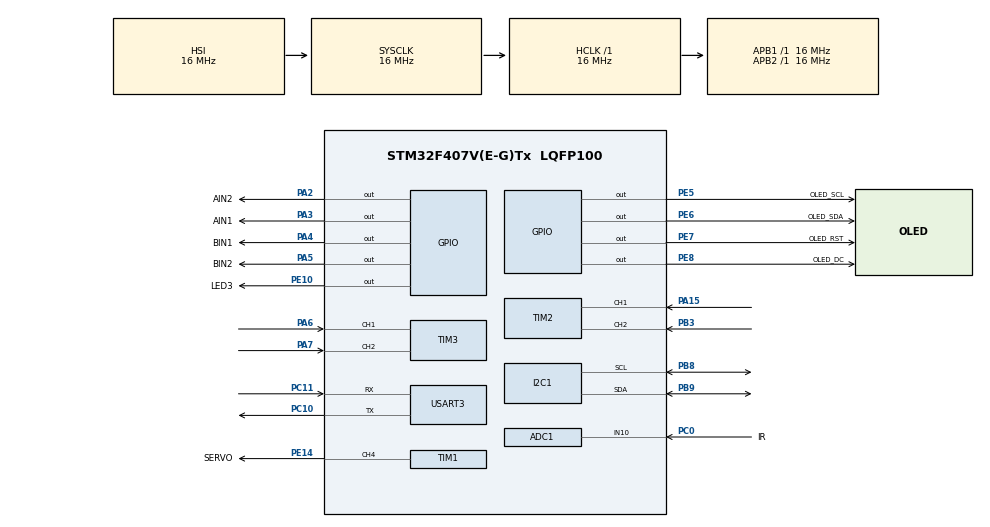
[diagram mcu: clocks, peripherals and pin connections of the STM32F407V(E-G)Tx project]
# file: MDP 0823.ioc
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ADC1.Channel-0\#ChannelRegularConversion=ADC_CHANNEL_10
ADC1.NbrOfConversionFlag=1
ADC1.Rank-0\#ChannelRegularConversion=1
ADC1.SamplingTime-0\#ChannelRegularConversion=ADC_SAMPLETIME_3CYCLES
ADC1.master=1
FREERTOS.Tasks01=defaultTask,24,128,StartDefaultTask,Default,NULL,Dynamic,NULL,NULL;myTask02,8,128,show,Default,NULL,Dynamic,NULL,NULL;MotorTask,8,128,motors,Default,NULL,Dynamic,NULL,NULL;EncoderTask,8,128,encoder_task,Default,NULL,Dynamic,NULL,NULL;IRTask,8,128,IR,Default,NULL,Dynamic,NULL,NULL
Mcu.Family=STM32F4
Mcu.Name=STM32F407V(E-G)Tx
Mcu.Package=LQFP100
NVIC.PriorityGroup=NVIC_PRIORITYGROUP_4
NVIC.USART3_IRQn=true\:5\:0\:false\:false\:true\:true\:true\:true\:true
PA15.Signal=S_TIM2_CH1_ETR
PA2.GPIO_Label=AIN2
PA2.GPIO_Speed=GPIO_SPEED_FREQ_HIGH
PA2.Signal=GPIO_Output
PA3.GPIO_Label=AIN1
PA3.GPIO_Speed=GPIO_SPEED_FREQ_HIGH
PA3.Signal=GPIO_Output
PA4.GPIO_Label=BIN1
PA4.GPIO_Speed=GPIO_SPEED_FREQ_HIGH
PA4.Signal=GPIO_Output
PA5.GPIO_Label=BIN2
PA5.GPIO_Speed=GPIO_SPEED_FREQ_HIGH
PA5.Signal=GPIO_Output
PA6.Signal=S_TIM3_CH1
PA7.Signal=S_TIM3_CH2
PB3.Signal=S_TIM2_CH2
PB8.Mode=I2C
PB8.Signal=I2C1_SCL
PB9.Mode=I2C
PB9.Signal=I2C1_SDA
PC0.GPIO_Label=IR
PC0.Signal=ADCx_IN10
PC10.Mode=Asynchronous
PC10.Signal=USART3_TX
PC11.Mode=Asynchronous
PC11.Signal=USART3_RX
PC6.GPIO_Label=PWMA
PC6.Signal=S_TIM8_CH1
PC7.GPIO_Label=PWMB
PC7.Signal=S_TIM8_CH2
PE10.GPIO_Label=LED3
PE10.Signal=GPIO_Output
PE14.GPIO_Label=SERVO
PE14.Signal=S_TIM1_CH4
PE5.GPIO_Label=OLED_SCL
PE5.Signal=GPIO_Output
PE6.GPIO_Label=OLED_SDA
PE6.Signal=GPIO_Output
PE7.GPIO_Label=OLED_RST
PE7.Signal=GPIO_Output
PE8.GPIO_Label=OLED_DC
PE8.Signal=GPIO_Output
ProjectManager.HeapSize=0x200
ProjectManager.StackSize=0x400
ProjectManager.TargetToolchain=STM32CubeIDE
RCC.AHBFreq_Value=16000000
RCC.APB1Freq_Value=16000000
RCC.APB2Freq_Value=16000000
RCC.CortexFreq_Value=16000000
RCC.HSE_VALUE=25000000
RCC.HSI_VALUE=16000000
RCC.LSE_VALUE=32768
RCC.SYSCLKFreq_VALUE=16000000
RCC.VCOOutputFreq_Value=192000000
SH.ADCx_IN10.0=ADC1_IN10,IN10
SH.S_TIM1_CH4.0=TIM1_CH4,PWM Generation4 CH4
SH.S_TIM2_CH1_ETR.0=TIM2_CH1,Encoder_Interface
SH.S_TIM2_CH2.0=TIM2_CH2,Encoder_Interface
SH.S_TIM3_CH1.0=TIM3_CH1,Encoder_Interface
SH.S_TIM3_CH2.0=TIM3_CH2,Encoder_Interface
SH.S_TIM8_CH1.0=TIM8_CH1
SH.S_TIM8_CH2.0=TIM8_CH2
TIM1.AutoReloadPreload=TIM_AUTORELOAD_PRELOAD_ENABLE
TIM1.Channel-PWM\ Generation4\ CH4=TIM_CHANNEL_4
TIM1.Period=1000
TIM1.Prescaler=160
TIM2.EncoderMode=TIM_ENCODERMODE_TI12
TIM2.IC1Filter=10
TIM3.EncoderMode=TIM_ENCODERMODE_TI12
TIM8.Channel-PWM\ Generation1\ No\ Output=TIM_CHANNEL_1
TIM8.Channel-PWM\ Generation2\ No\ Output=TIM_CHANNEL_2
TIM8.Period=7199
USART3.VirtualMode=VM_ASYNC
VP_FREERTOS_VS_CMSIS_V2.Mode=CMSIS_V2
VP_TIM1_VS_ClockSourceINT.Mode=Internal
VP_TIM8_VS_ClockSourceINT.Mode=Internal
VP_TIM8_VS_no_output1.Mode=PWM Generation1 No Output
VP_TIM8_VS_no_output2.Mode=PWM Generation2 No Output
board=custom

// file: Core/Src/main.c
/* USER CODE BEGIN Header */
/**
  ******************************************************************************
  * @file           : main.c
  * @brief          : Main program body
  ******************************************************************************
  * @attention
  *
  *  PASTA RAY  /////////////////////////////////////////////////////
  *
  * Copyright (c) 2022 STMicroelectronics.
  * All rights reserved.
  *
  * This software is licensed under terms that can be found in the LICENSE file
  * in the root directory of this software component.
  * If no LICENSE file comes with this software, it is provided AS-IS.
  *
  ******************************************************************************
  */
/* USER CODE END Header */
#include "main.h"
#include "cmsis_os.h"

/* USER CODE BEGIN Includes */
#include "oled.h"
#include <math.h>
#include "math.h"
#include "ICM20948.h"
#include <stdio.h>
/* USER CODE END Includes */

ADC_HandleTypeDef hadc1;

I2C_HandleTypeDef hi2c1;

TIM_HandleTypeDef htim1;
TIM_HandleTypeDef htim2;
TIM_HandleTypeDef htim3;
TIM_HandleTypeDef htim8;

UART_HandleTypeDef huart3;

/* Definitions for defaultTask */
osThreadId_t defaultTaskHandle;
const osThreadAttr_t defaultTask_attributes = {
  .name = "defaultTask",
  .stack_size = 128 * 4,
  .priority = (osPriority_t) osPriorityNormal,
};
/* Definitions for myTask02 */
osThreadId_t myTask02Handle;
const osThreadAttr_t myTask02_attributes = {
  .name = "myTask02",
  .stack_size = 128 * 4,
  .priority = (osPriority_t) osPriorityLow,
};
/* Definitions for MotorTask */
osThreadId_t MotorTaskHandle;
const osThreadAttr_t MotorTask_attributes = {
  .name = "MotorTask",
  .stack_size = 128 * 4,
  .priority = (osPriority_t) osPriorityLow,
};
/* Definitions for EncoderTask */
osThreadId_t EncoderTaskHandle;
const osThreadAttr_t EncoderTask_attributes = {
  .name = "EncoderTask",
  .stack_size = 128 * 4,
  .priority = (osPriority_t) osPriorityLow,
};
/* Definitions for IRTask */
osThreadId_t IRTaskHandle;
const osThreadAttr_t IRTask_attributes = {
  .name = "IRTask",
  .stack_size = 128 * 4,
  .priority = (osPriority_t) osPriorityLow,
};

void SystemClock_Config(void);
static void MX_GPIO_Init(void);
static void MX_TIM8_Init(void);
static void MX_TIM2_Init(void);
static void MX_TIM1_Init(void);
static void MX_USART3_UART_Init(void);
static void MX_TIM3_Init(void);
static void MX_I2C1_Init(void);
static void MX_ADC1_Init(void);
void StartDefaultTask(void *argument);
void show(void *argument);
void motors(void *argument);
void encoder_task(void *argument);
void IR(void *argument);

/* USER CODE BEGIN 0 */
const int s = 512;

//icm20948 imu
int16_t ICM_CumuVal;
int direction = 150;

//encoder
int cntr1, cntr2, diffr; //for right wheel
int cnt1, cnt2, diff; //left wheel

//uart
uint8_t aRxBuffer[20];
//uint8_t valueBuffer[7];
char choice;
uint16_t value=0;

//pwm for wheel speed
uint16_t pwmValLeft=0;//A is left motor B is right
uint16_t pwmValRight=0;

//wheel turns remaining, 3000~=60cm
long int leftremaining=0;
long int rightremaining=0;

//IR
int frontIR_ADC;
int centerIR;

void messageCompleteHandler(void);
/* USER CODE END 0 */

int main(void)
{

  /* MCU Configuration--------------------------------------------------------*/

  /* Reset of all peripherals, Initializes the Flash interface and the Systick. */
  HAL_Init();

  /* Configure the system clock */
  SystemClock_Config();

  /* Initialize all configured peripherals */
  MX_GPIO_Init();
  MX_TIM8_Init();
  MX_TIM2_Init();
  MX_TIM1_Init();
  MX_USART3_UART_Init();
  MX_TIM3_Init();
  MX_I2C1_Init();
  MX_ADC1_Init();
  /* USER CODE BEGIN 2 */
  OLED_Init();
  HAL_UART_Receive_IT(&huart3,(uint8_t *) aRxBuffer,4);
  LPF_Init2(&hadc1,s);
  /* USER CODE END 2 */

  /* Init scheduler */
  osKernelInitialize();

  /* Create the thread(s) */
  /* creation of defaultTask */
  defaultTaskHandle = osThreadNew(StartDefaultTask, NULL, &defaultTask_attributes);

  /* creation of myTask02 */
  myTask02Handle = osThreadNew(show, NULL, &myTask02_attributes);

  /* creation of MotorTask */
  MotorTaskHandle = osThreadNew(motors, NULL, &MotorTask_attributes);

  /* creation of EncoderTask */
  EncoderTaskHandle = osThreadNew(encoder_task, NULL, &EncoderTask_attributes);

  /* creation of IRTask */
  IRTaskHandle = osThreadNew(IR, NULL, &IRTask_attributes);

  /* Start scheduler */
  osKernelStart();

  /* We should never get here as control is now taken by the scheduler */
  /* Infinite loop */
  while (1)
  {

  }
}

void SystemClock_Config(void)
{
  RCC_OscInitTypeDef RCC_OscInitStruct = {0};
  RCC_ClkInitTypeDef RCC_ClkInitStruct = {0};

  /** Configure the main internal regulator output voltage
  */
  __HAL_RCC_PWR_CLK_ENABLE();
  __HAL_PWR_VOLTAGESCALING_CONFIG(PWR_REGULATOR_VOLTAGE_SCALE1);

  /** Initializes the RCC Oscillators according to the specified parameters
  * in the RCC_OscInitTypeDef structure.
  */
  RCC_OscInitStruct.OscillatorType = RCC_OSCILLATORTYPE_HSI;
  RCC_OscInitStruct.HSIState = RCC_HSI_ON;
  RCC_OscInitStruct.HSICalibrationValue = RCC_HSICALIBRATION_DEFAULT;
  RCC_OscInitStruct.PLL.PLLState = RCC_PLL_NONE;
  if (HAL_RCC_OscConfig(&RCC_OscInitStruct) != HAL_OK)
  {
    Error_Handler();
  }

  /** Initializes the CPU, AHB and APB buses clocks
  */
  RCC_ClkInitStruct.ClockType = RCC_CLOCKTYPE_HCLK|RCC_CLOCKTYPE_SYSCLK
                              |RCC_CLOCKTYPE_PCLK1|RCC_CLOCKTYPE_PCLK2;
  RCC_ClkInitStruct.SYSCLKSource = RCC_SYSCLKSOURCE_HSI;
  RCC_ClkInitStruct.AHBCLKDivider = RCC_SYSCLK_DIV1;
  RCC_ClkInitStruct.APB1CLKDivider = RCC_HCLK_DIV1;
  RCC_ClkInitStruct.APB2CLKDivider = RCC_HCLK_DIV1;

  if (HAL_RCC_ClockConfig(&RCC_ClkInitStruct, FLASH_LATENCY_0) != HAL_OK)
  {
    Error_Handler();
  }
}

static void MX_ADC1_Init(void)
{

  ADC_ChannelConfTypeDef sConfig = {0};

  /** Configure the global features of the ADC (Clock, Resolution, Data Alignment and number of conversion)
  */
  hadc1.Instance = ADC1;
  hadc1.Init.ClockPrescaler = ADC_CLOCK_SYNC_PCLK_DIV2;
  hadc1.Init.Resolution = ADC_RESOLUTION_12B;
  hadc1.Init.ScanConvMode = DISABLE;
  hadc1.Init.ContinuousConvMode = DISABLE;
  hadc1.Init.DiscontinuousConvMode = DISABLE;
  hadc1.Init.ExternalTrigConvEdge = ADC_EXTERNALTRIGCONVEDGE_NONE;
  hadc1.Init.ExternalTrigConv = ADC_SOFTWARE_START;
  hadc1.Init.DataAlign = ADC_DATAALIGN_RIGHT;
  hadc1.Init.NbrOfConversion = 1;
  hadc1.Init.DMAContinuousRequests = DISABLE;
  hadc1.Init.EOCSelection = ADC_EOC_SINGLE_CONV;
  if (HAL_ADC_Init(&hadc1) != HAL_OK)
  {
    Error_Handler();
  }

  /** Configure for the selected ADC regular channel its corresponding rank in the sequencer and its sample time.
  */
  sConfig.Channel = ADC_CHANNEL_10;
  sConfig.Rank = 1;
  sConfig.SamplingTime = ADC_SAMPLETIME_3CYCLES;
  if (HAL_ADC_ConfigChannel(&hadc1, &sConfig) != HAL_OK)
  {
    Error_Handler();
  }

}

static void MX_I2C1_Init(void)
{

  hi2c1.Instance = I2C1;
  hi2c1.Init.ClockSpeed = 100000;
  hi2c1.Init.DutyCycle = I2C_DUTYCYCLE_2;
  hi2c1.Init.OwnAddress1 = 0;
  hi2c1.Init.AddressingMode = I2C_ADDRESSINGMODE_7BIT;
  hi2c1.Init.DualAddressMode = I2C_DUALADDRESS_DISABLE;
  hi2c1.Init.OwnAddress2 = 0;
  hi2c1.Init.GeneralCallMode = I2C_GENERALCALL_DISABLE;
  hi2c1.Init.NoStretchMode = I2C_NOSTRETCH_DISABLE;
  if (HAL_I2C_Init(&hi2c1) != HAL_OK)
  {
    Error_Handler();
  }

}

static void MX_TIM1_Init(void)
{

  TIM_ClockConfigTypeDef sClockSourceConfig = {0};
  TIM_MasterConfigTypeDef sMasterConfig = {0};
  TIM_OC_InitTypeDef sConfigOC = {0};
  TIM_BreakDeadTimeConfigTypeDef sBreakDeadTimeConfig = {0};

  htim1.Instance = TIM1;
  htim1.Init.Prescaler = 160;
  htim1.Init.CounterMode = TIM_COUNTERMODE_UP;
  htim1.Init.Period = 1000;
  htim1.Init.ClockDivision = TIM_CLOCKDIVISION_DIV1;
  htim1.Init.RepetitionCounter = 0;
  htim1.Init.AutoReloadPreload = TIM_AUTORELOAD_PRELOAD_ENABLE;
  if (HAL_TIM_Base_Init(&htim1) != HAL_OK)
  {
    Error_Handler();
  }
  sClockSourceConfig.ClockSource = TIM_CLOCKSOURCE_INTERNAL;
  if (HAL_TIM_ConfigClockSource(&htim1, &sClockSourceConfig) != HAL_OK)
  {
    Error_Handler();
  }
  if (HAL_TIM_PWM_Init(&htim1) != HAL_OK)
  {
    Error_Handler();
  }
  sMasterConfig.MasterOutputTrigger = TIM_TRGO_RESET;
  sMasterConfig.MasterSlaveMode = TIM_MASTERSLAVEMODE_DISABLE;
  if (HAL_TIMEx_MasterConfigSynchronization(&htim1, &sMasterConfig) != HAL_OK)
  {
    Error_Handler();
  }
  sConfigOC.OCMode = TIM_OCMODE_PWM1;
  sConfigOC.Pulse = 0;
  sConfigOC.OCPolarity = TIM_OCPOLARITY_HIGH;
  sConfigOC.OCFastMode = TIM_OCFAST_DISABLE;
  sConfigOC.OCIdleState = TIM_OCIDLESTATE_RESET;
  sConfigOC.OCNIdleState = TIM_OCNIDLESTATE_RESET;
  if (HAL_TIM_PWM_ConfigChannel(&htim1, &sConfigOC, TIM_CHANNEL_4) != HAL_OK)
  {
    Error_Handler();
  }
  sBreakDeadTimeConfig.OffStateRunMode = TIM_OSSR_DISABLE;
  sBreakDeadTimeConfig.OffStateIDLEMode = TIM_OSSI_DISABLE;
  sBreakDeadTimeConfig.LockLevel = TIM_LOCKLEVEL_OFF;
  sBreakDeadTimeConfig.DeadTime = 0;
  sBreakDeadTimeConfig.BreakState = TIM_BREAK_DISABLE;
  sBreakDeadTimeConfig.BreakPolarity = TIM_BREAKPOLARITY_HIGH;
  sBreakDeadTimeConfig.AutomaticOutput = TIM_AUTOMATICOUTPUT_DISABLE;
  if (HAL_TIMEx_ConfigBreakDeadTime(&htim1, &sBreakDeadTimeConfig) != HAL_OK)
  {
    Error_Handler();
  }
  HAL_TIM_MspPostInit(&htim1);

}

static void MX_TIM2_Init(void)
{

  TIM_Encoder_InitTypeDef sConfig = {0};
  TIM_MasterConfigTypeDef sMasterConfig = {0};

  htim2.Instance = TIM2;
  htim2.Init.Prescaler = 0;
  htim2.Init.CounterMode = TIM_COUNTERMODE_UP;
  htim2.Init.Period = 4294967295;
  htim2.Init.ClockDivision = TIM_CLOCKDIVISION_DIV1;
  htim2.Init.AutoReloadPreload = TIM_AUTORELOAD_PRELOAD_DISABLE;
  sConfig.EncoderMode = TIM_ENCODERMODE_TI12;
  sConfig.IC1Polarity = TIM_ICPOLARITY_RISING;
  sConfig.IC1Selection = TIM_ICSELECTION_DIRECTTI;
  sConfig.IC1Prescaler = TIM_ICPSC_DIV1;
  sConfig.IC1Filter = 10;
  sConfig.IC2Polarity = TIM_ICPOLARITY_RISING;
  sConfig.IC2Selection = TIM_ICSELECTION_DIRECTTI;
  sConfig.IC2Prescaler = TIM_ICPSC_DIV1;
  sConfig.IC2Filter = 0;
  if (HAL_TIM_Encoder_Init(&htim2, &sConfig) != HAL_OK)
  {
    Error_Handler();
  }
  sMasterConfig.MasterOutputTrigger = TIM_TRGO_RESET;
  sMasterConfig.MasterSlaveMode = TIM_MASTERSLAVEMODE_DISABLE;
  if (HAL_TIMEx_MasterConfigSynchronization(&htim2, &sMasterConfig) != HAL_OK)
  {
    Error_Handler();
  }

}

static void MX_TIM3_Init(void)
{

  TIM_Encoder_InitTypeDef sConfig = {0};
  TIM_MasterConfigTypeDef sMasterConfig = {0};

  htim3.Instance = TIM3;
  htim3.Init.Prescaler = 0;
  htim3.Init.CounterMode = TIM_COUNTERMODE_UP;
  htim3.Init.Period = 65535;
  htim3.Init.ClockDivision = TIM_CLOCKDIVISION_DIV1;
  htim3.Init.AutoReloadPreload = TIM_AUTORELOAD_PRELOAD_DISABLE;
  sConfig.EncoderMode = TIM_ENCODERMODE_TI12;
  sConfig.IC1Polarity = TIM_ICPOLARITY_RISING;
  sConfig.IC1Selection = TIM_ICSELECTION_DIRECTTI;
  sConfig.IC1Prescaler = TIM_ICPSC_DIV1;
  sConfig.IC1Filter = 0;
  sConfig.IC2Polarity = TIM_ICPOLARITY_RISING;
  sConfig.IC2Selection = TIM_ICSELECTION_DIRECTTI;
  sConfig.IC2Prescaler = TIM_ICPSC_DIV1;
  sConfig.IC2Filter = 0;
  if (HAL_TIM_Encoder_Init(&htim3, &sConfig) != HAL_OK)
  {
    Error_Handler();
  }
  sMasterConfig.MasterOutputTrigger = TIM_TRGO_RESET;
  sMasterConfig.MasterSlaveMode = TIM_MASTERSLAVEMODE_DISABLE;
  if (HAL_TIMEx_MasterConfigSynchronization(&htim3, &sMasterConfig) != HAL_OK)
  {
    Error_Handler();
  }

}

static void MX_TIM8_Init(void)
{

  TIM_ClockConfigTypeDef sClockSourceConfig = {0};
  TIM_MasterConfigTypeDef sMasterConfig = {0};
  TIM_OC_InitTypeDef sConfigOC = {0};
  TIM_BreakDeadTimeConfigTypeDef sBreakDeadTimeConfig = {0};

  htim8.Instance = TIM8;
  htim8.Init.Prescaler = 0;
  htim8.Init.CounterMode = TIM_COUNTERMODE_UP;
  htim8.Init.Period = 7199;
  htim8.Init.ClockDivision = TIM_CLOCKDIVISION_DIV1;
  htim8.Init.RepetitionCounter = 0;
  htim8.Init.AutoReloadPreload = TIM_AUTORELOAD_PRELOAD_DISABLE;
  if (HAL_TIM_Base_Init(&htim8) != HAL_OK)
  {
    Error_Handler();
  }
  sClockSourceConfig.ClockSource = TIM_CLOCKSOURCE_INTERNAL;
  if (HAL_TIM_ConfigClockSource(&htim8, &sClockSourceConfig) != HAL_OK)
  {
    Error_Handler();
  }
  if (HAL_TIM_PWM_Init(&htim8) != HAL_OK)
  {
    Error_Handler();
  }
  sMasterConfig.MasterOutputTrigger = TIM_TRGO_RESET;
  sMasterConfig.MasterSlaveMode = TIM_MASTERSLAVEMODE_DISABLE;
  if (HAL_TIMEx_MasterConfigSynchronization(&htim8, &sMasterConfig) != HAL_OK)
  {
    Error_Handler();
  }
  sConfigOC.OCMode = TIM_OCMODE_PWM1;
  sConfigOC.Pulse = 0;
  sConfigOC.OCPolarity = TIM_OCPOLARITY_HIGH;
  sConfigOC.OCNPolarity = TIM_OCNPOLARITY_HIGH;
  sConfigOC.OCFastMode = TIM_OCFAST_DISABLE;
  sConfigOC.OCIdleState = TIM_OCIDLESTATE_RESET;
  sConfigOC.OCNIdleState = TIM_OCNIDLESTATE_RESET;
  if (HAL_TIM_PWM_ConfigChannel(&htim8, &sConfigOC, TIM_CHANNEL_1) != HAL_OK)
  {
    Error_Handler();
  }
  if (HAL_TIM_PWM_ConfigChannel(&htim8, &sConfigOC, TIM_CHANNEL_2) != HAL_OK)
  {
    Error_Handler();
  }
  sBreakDeadTimeConfig.OffStateRunMode = TIM_OSSR_DISABLE;
  sBreakDeadTimeConfig.OffStateIDLEMode = TIM_OSSI_DISABLE;
  sBreakDeadTimeConfig.LockLevel = TIM_LOCKLEVEL_OFF;
  sBreakDeadTimeConfig.DeadTime = 0;
  sBreakDeadTimeConfig.BreakState = TIM_BREAK_DISABLE;
  sBreakDeadTimeConfig.BreakPolarity = TIM_BREAKPOLARITY_HIGH;
  sBreakDeadTimeConfig.AutomaticOutput = TIM_AUTOMATICOUTPUT_DISABLE;
  if (HAL_TIMEx_ConfigBreakDeadTime(&htim8, &sBreakDeadTimeConfig) != HAL_OK)
  {
    Error_Handler();
  }

}

static void MX_USART3_UART_Init(void)
{

  huart3.Instance = USART3;
  huart3.Init.BaudRate = 115200;
  huart3.Init.WordLength = UART_WORDLENGTH_8B;
  huart3.Init.StopBits = UART_STOPBITS_1;
  huart3.Init.Parity = UART_PARITY_NONE;
  huart3.Init.Mode = UART_MODE_TX_RX;
  huart3.Init.HwFlowCtl = UART_HWCONTROL_NONE;
  huart3.Init.OverSampling = UART_OVERSAMPLING_16;
  if (HAL_UART_Init(&huart3) != HAL_OK)
  {
    Error_Handler();
  }

}

static void MX_GPIO_Init(void)
{
  GPIO_InitTypeDef GPIO_InitStruct = {0};

  /* GPIO Ports Clock Enable */
  __HAL_RCC_GPIOE_CLK_ENABLE();
  __HAL_RCC_GPIOC_CLK_ENABLE();
  __HAL_RCC_GPIOA_CLK_ENABLE();
  __HAL_RCC_GPIOB_CLK_ENABLE();

  /*Configure GPIO pin Output Level */
  HAL_GPIO_WritePin(GPIOE, OLED_SCL_Pin|OLED_SDA_Pin|OLED_RST_Pin|OLED_DC_Pin
                          |LED3_Pin, GPIO_PIN_RESET);

  /*Configure GPIO pin Output Level */
  HAL_GPIO_WritePin(GPIOA, AIN2_Pin|AIN1_Pin|BIN1_Pin|BIN2_Pin, GPIO_PIN_RESET);

  /*Configure GPIO pins : OLED_SCL_Pin OLED_SDA_Pin OLED_RST_Pin OLED_DC_Pin
                           LED3_Pin */
  GPIO_InitStruct.Pin = OLED_SCL_Pin|OLED_SDA_Pin|OLED_RST_Pin|OLED_DC_Pin
                          |LED3_Pin;
  GPIO_InitStruct.Mode = GPIO_MODE_OUTPUT_PP;
  GPIO_InitStruct.Pull = GPIO_NOPULL;
  GPIO_InitStruct.Speed = GPIO_SPEED_FREQ_LOW;
  HAL_GPIO_Init(GPIOE, &GPIO_InitStruct);

  /*Configure GPIO pins : AIN2_Pin AIN1_Pin BIN1_Pin BIN2_Pin */
  GPIO_InitStruct.Pin = AIN2_Pin|AIN1_Pin|BIN1_Pin|BIN2_Pin;
  GPIO_InitStruct.Mode = GPIO_MODE_OUTPUT_PP;
  GPIO_InitStruct.Pull = GPIO_NOPULL;
  GPIO_InitStruct.Speed = GPIO_SPEED_FREQ_HIGH;
  HAL_GPIO_Init(GPIOA, &GPIO_InitStruct);

}

/* USER CODE BEGIN 4 */
void HAL_UART_RxCpltCallback(UART_HandleTypeDef *huart){
	//prevent unused argument compilation warning
	UNUSED(huart);
	HAL_UART_Transmit(&huart3,(uint8_t *)aRxBuffer,10,0xFFFF);

	//chiam code below
	messageCompleteHandler();
	HAL_UART_Receive_IT(&huart3,(uint8_t *)aRxBuffer,4);
}

void messageCompleteHandler(void){
	  choice=aRxBuffer[0];
	  value=0;
	  int i;
	  for(i=3;i>0;i--){//process 3 digit value after command
		  value+=(aRxBuffer[i]-48)*pow(10,3-i);
	  }
}

void SensorRead_ISR(void){
	centerIR = LPF_Calc2(frontIR_ADC);
}
/* USER CODE END 4 */

void StartDefaultTask(void *argument)
{
  /* USER CODE BEGIN 5 */
  /* Infinite loop */
	//uint8_t ch='A';
	uint16_t readings[3];
	uint8_t buffer[20];
	ICM_CumuVal = 0 ;
	ICM20948_init(&hi2c1,0,GYRO_FULL_SCALE_2000DPS,ACCEL_FULL_SCALE_16G);
	for (;;) {
		//HAL_UART_Transmit(&huart3, (uint8_t*) &ch, 1, 0xFFFFFFFF);//normally FFFF test

		HAL_GPIO_TogglePin(LED3_GPIO_Port, LED3_Pin); //optional led
		//osDelay(2000);

		ICM20948_readGyroscope_allAxises(&hi2c1, 0, GYRO_FULL_SCALE_2000DPS,readings);
		if (readings[2] > 32768) {
			ICM_CumuVal = readings[2] - 65536 + ICM_CumuVal;
		} else {
			ICM_CumuVal = readings[2] + ICM_CumuVal;
		}

		sprintf(buffer, "%5d %5d\r\n", ICM_CumuVal,readings[2]);
		//HAL_UART_Transmit(&huart3, (uint8_t *) buffer, 20, 0xFFFFFF);
		osDelay(100);

	}
  /* USER CODE END 5 */
}

void show(void *argument)
{
  /* USER CODE BEGIN show */
	uint8_t hello[30];
  /* Infinite loop */
  for(;;)
  {
	  //sprintf(hello,"%s\0",choice);
	  //OLED_ShowString(10,10,hello);
	  sprintf(hello,"IR:%5d\0",centerIR);
	  OLED_ShowString(10,20,hello);
	  OLED_Refresh_Gram();
	  osDelay(50);
  }
  /* USER CODE END show */
}

void motors(void *argument)
{
  /* USER CODE BEGIN motors */
	//uint16_t pwmValLeft=0;//A is left motor B is right
	//uint16_t pwmValRight=0;
	HAL_TIM_PWM_Start(&htim8, TIM_CHANNEL_1);//left
	HAL_TIM_PWM_Start(&htim8, TIM_CHANNEL_2);//right
	HAL_TIM_PWM_Start(&htim1,TIM_CHANNEL_4);//servo
	int communicationbuffer[1];
	htim1.Instance->CCR4=150; //center steer
	char current;//stores current motion
  /* Infinite loop */
	for(;;)
	{
		if(choice=='T'){ //test toggle led if uart working
			if(value==123){//test
				//HAL_GPIO_WritePin(LED3_GPIO_Port, LED3_Pin, GPIO_PIN_RESET);//on led
			}
		}
		else if(choice=='W'){//forward straight line
			current=choice;//store value
			ICM_CumuVal=0;
			htim1.Instance->CCR4=150; //straighten steer
			leftremaining=value*45;//ratio is 50:1cm, CALIBRATE TO 45
			rightremaining=value*45;
			pwmValLeft=1000;//wheel speed
			pwmValRight=1000;

		}
		else if(choice=='M'){//forward straight line for TASK 2
			current=choice;//store value
			ICM_CumuVal=0;
			htim1.Instance->CCR4=150; //straighten steer
			leftremaining=value*45;//ratio is 50:1cm, CALIBRATE TO 45
			rightremaining=value*45;
			pwmValLeft=2000;//wheel speed
			pwmValRight=2000;
		}

		else if(choice=='S'){//backward straight line
			current=choice;
			ICM_CumuVal=0;
			htim1.Instance->CCR4=150; //straighten steer
			leftremaining=value*45;//ratio is 50:1cm, CALIBRATE TO 45
			rightremaining=value*45;
			pwmValLeft=1000;//wheel speed
			pwmValRight=1000;
		}
		else if(choice=='E' || choice=='D'){//forward right or backward right steer
			current=choice;
			ICM_CumuVal=0;
			htim1.Instance->CCR4=210;//servo turn right
			pwmValLeft=2000;//wheel speed, left wheel turn faster
			pwmValRight=250;
		}
		else if(choice=='Q' || choice=='A'){//forward left or backward left steer
			current=choice;
			ICM_CumuVal=0;
			htim1.Instance->CCR4=120;//servo turn left
			pwmValLeft=250;//wheel speed, right wheel turn faster
			pwmValRight=1600;
		}

		if(choice=='Q' || choice=='W' || choice=='E'|| choice=='M'){//forward
			HAL_GPIO_WritePin(GPIOA, AIN2_Pin, GPIO_PIN_RESET);//left
			HAL_GPIO_WritePin(GPIOA, AIN1_Pin, GPIO_PIN_SET);
			HAL_GPIO_WritePin(GPIOA, BIN2_Pin, GPIO_PIN_RESET);//right
			HAL_GPIO_WritePin(GPIOA, BIN1_Pin, GPIO_PIN_SET);
		}
		if(choice=='A' || choice=='S' || choice=='D'){//backward
			HAL_GPIO_WritePin(GPIOA, AIN2_Pin, GPIO_PIN_SET);//left
			HAL_GPIO_WritePin(GPIOA, AIN1_Pin, GPIO_PIN_RESET);
			HAL_GPIO_WritePin(GPIOA, BIN2_Pin, GPIO_PIN_SET);//right
			HAL_GPIO_WritePin(GPIOA, BIN1_Pin, GPIO_PIN_RESET);
		}

		if (current=='W'||current=='S'){//stop at correct distance for straight movements only
			if (leftremaining<0 || rightremaining<0){//stop
				pwmValLeft=0;  // set left wheel speed =0
				pwmValRight=0; // set right wheel speed =0
			  	htim1.Instance->CCR4=150; // set servo to be middle
				current="X"; // to reset the choice

				// transmit back 1 char
				uint8_t ch = 'P';
				HAL_UART_Transmit(&huart3, (uint8_t *) &ch, 1, 0xFFFF);

			}
		}

		if (current=='M'){//stop at correct distance for straight movements only ( task 2 )
			if ( centerIR >1300 ){//stop
				pwmValLeft=0;  // set left wheel speed =0
				pwmValRight=0; // set right wheel speed =0
				htim1.Instance->CCR4=150; // set servo to be middle
				current="X"; // to reset the choice

				// transmit back 1 char
				uint8_t ch = 'M';
				HAL_UART_Transmit(&huart3, (uint8_t *) &ch, 1, 0xFFFF);
			}

		}

		if (current=='W' || current == 'M'){
			//moving forward straighten
			if (ICM_CumuVal>1){
				htim1.Instance->CCR4=155;
				// original is 160
			}
			else if (ICM_CumuVal<-1){
				htim1.Instance->CCR4=145;
				// original is 140
			}
			else// if (ICM_CumuVal==0){
				htim1.Instance->CCR4=150;
			//}
		}
		if (current=='S'){
			//moving backward straighten
			if (ICM_CumuVal>1){
				htim1.Instance->CCR4=145;
			}
			else if (ICM_CumuVal<-1){
				htim1.Instance->CCR4=155;
			}
			else// if (ICM_CumuVal==0){
				htim1.Instance->CCR4=150;
			//}
		}
		if (current=='E'||current=='A'){//stop after rotating right
			if (ICM_CumuVal+(value*860/90)<0){//CUMUVAL will be negative
				pwmValLeft=0;
				pwmValRight=0;
				htim1.Instance->CCR4=150;
				current="X";

				// transmit back 1 char
				uint8_t ch = 'P';
				HAL_UART_Transmit(&huart3, (uint8_t *) &ch, 1, 0xFFFF);

			}
		}
		if (current=='Q'||current=='D'){//stop after rotating LEFT
			if (ICM_CumuVal-(value*860/90)>0){//CUMUVAL will be positive
				pwmValLeft=0;
				pwmValRight=0;
				htim1.Instance->CCR4=150;
				current="X";
				// transmit back 1 char
				uint8_t ch = 'P';
				HAL_UART_Transmit(&huart3, (uint8_t *) &ch, 1, 0xFFFF);

			}
		}
		if (choice=='P'){//stop immediately
			pwmValLeft=0;
			pwmValRight=0;
			htim1.Instance->CCR4=150;
			current="X";
			// transmit back 1 char
			uint8_t ch = 'P';
			HAL_UART_Transmit(&huart3, (uint8_t *) &ch, 1, 0xFFFF);

		}
		choice='X';//clear choice

		  __HAL_TIM_SetCompare(&htim8,TIM_CHANNEL_1,pwmValLeft);//modify comparison value for duty cycle
		  __HAL_TIM_SetCompare(&htim8,TIM_CHANNEL_2,pwmValRight);
    osDelay(1);
  }

  /* USER CODE END motors */
}

void encoder_task(void *argument)
{
  /* USER CODE BEGIN encoder_task */
  /* Infinite loop */
	HAL_TIM_Encoder_Start(&htim2, TIM_CHANNEL_ALL);
	HAL_TIM_Encoder_Start(&htim3, TIM_CHANNEL_ALL); //newcode

	// left wheel

	uint32_t tick;
	cnt1=__HAL_TIM_GET_COUNTER(&htim2);
	tick=HAL_GetTick();
	uint8_t hello[40];
	uint16_t dir;

	//for right wheel
	uint32_t tickr;
	cntr1=__HAL_TIM_GET_COUNTER(&htim3);
	uint8_t bye[20];
	uint16_t dirr;

  for(;;)
  {
	  if(HAL_GetTick()-tick > 100L){//every 1000 ticks, L means long int
		  cnt2=__HAL_TIM_GET_COUNTER(&htim2);
		  cntr2=__HAL_TIM_GET_COUNTER(&htim3);//right wheel
		  sprintf(hello,"%5d %5d\0",leftremaining,rightremaining);
		  OLED_ShowString(10,40,hello);
		  if (cnt1==cnt2){ //left wheel not moving
			  diff=0;
			  diffr=0;
		  }
		  else if(__HAL_TIM_IS_TIM_COUNTING_DOWN(&htim2)){ //overflow and underflow by dr loke
			  if(cnt2<cnt1)
				  diff=cnt1-cnt2;
			  else
				  diff=(65535-cnt2)+cnt1;
			  if(cntr2>cntr1)
				  diffr=cntr2-cntr1;
			  else
				  diffr=(65535-cntr1)+cntr2;
		  }
		  else{
			  if(cnt2>cnt1)
				  diff=cnt2-cnt1;
			  else
				  diff=(65535-cnt1)+cnt2;

			  if(cntr2<cntr1)
				  diffr=cntr1-cntr2;
			  else
				  diffr=(65535-cntr2)+cntr1;
		  }

		  //sprintf(hello,"LeftSpd:%5d\0",diff);
		  //OLED_ShowString(10,20,hello);
		  sprintf(bye,"RightSpd:%5d\0",diffr);
		  OLED_ShowString(10,30,bye);
		  sprintf(hello,"uart:%c %3d\0",choice,value);
		  OLED_ShowString(10,10,hello);

		  cnt1=__HAL_TIM_GET_COUNTER(&htim2);
		  cntr1=__HAL_TIM_GET_COUNTER(&htim3);
		  tick=HAL_GetTick();

		  //decrease remaining wheel turns
		  leftremaining=leftremaining-diff;
		  rightremaining=rightremaining-diffr;
	  }
	  //osDelay(1);
  }
  /* USER CODE END encoder_task */
}

void IR(void *argument)
{
  /* USER CODE BEGIN IR */
  /* Infinite loop */
  for(;;)
  {
	HAL_ADC_Start(&hadc1);
	HAL_ADC_PollForConversion(&hadc1, 10);
	frontIR_ADC = HAL_ADC_GetValue(&hadc1);
	HAL_ADC_Stop(&hadc1);

	SensorRead_ISR();

    osDelay(1);
  }
  /* USER CODE END IR */
}

void Error_Handler(void)
{
  __disable_irq();
}
